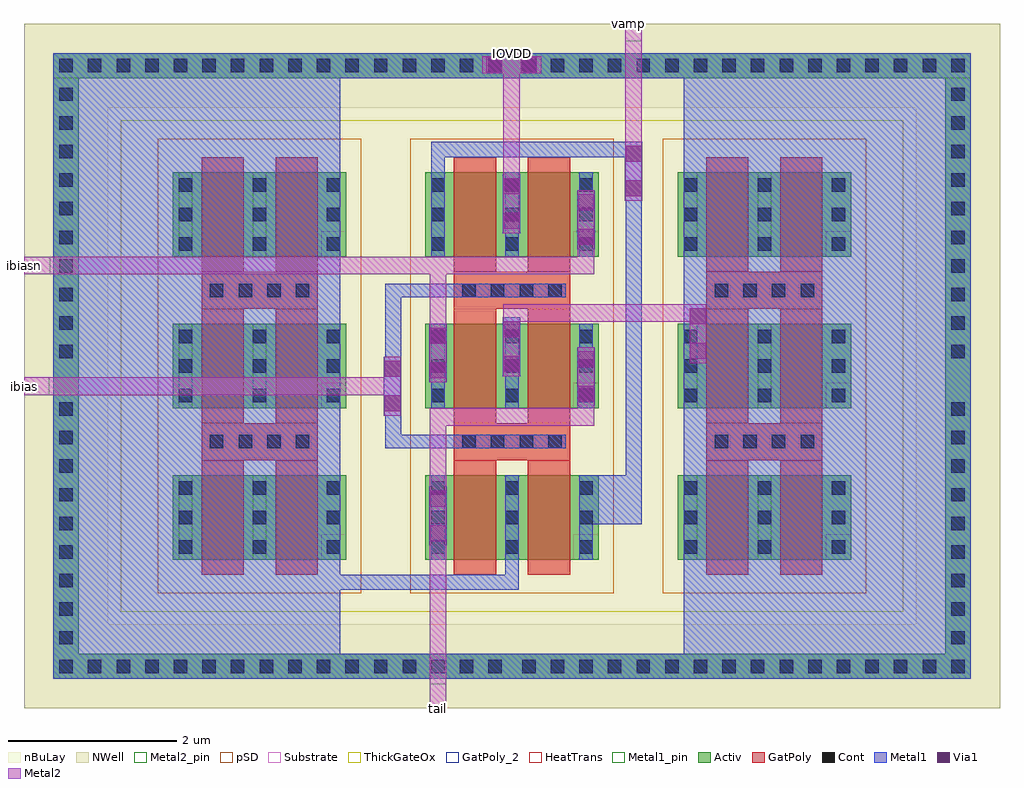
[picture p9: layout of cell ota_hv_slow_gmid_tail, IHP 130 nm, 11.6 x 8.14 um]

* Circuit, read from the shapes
.subckt ota_hv_slow_gmid_tail IOVDD ibias ibiasn tail vamp
XM1 IOVDD IOVDD IOVDD IOVDD sg13_hv_pmos w=1u l=0.5u m=12
XM2 IOVDD ibias tail IOVDD sg13_hv_pmos w=1u l=0.5u m=2
XM3 IOVDD ibias ibiasn IOVDD sg13_hv_pmos w=1u l=0.5u m=2
XM4 IOVDD ibias vamp IOVDD sg13_hv_pmos w=1u l=0.5u m=2
.ends

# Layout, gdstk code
import gdstk
lib = gdstk.Library(unit=1e-6, precision=1e-09)
def R(c, l, rs):  # rectangles x0, y0, x1, y1
    for r in rs: c.add(gdstk.rectangle(r[:2], r[2:], *l))
def A(c, l, x, y, w, h, nx, ny, dx, dy):  # array of equal rectangles
    R(c, l, [(x+i*dx, y+j*dy, x+i*dx+w, y+j*dy+h) for i in range(nx) for j in range(ny)])
def P(c, l, *ps):  # polygons
    for p in ps: c.add(gdstk.Polygon(p, *l))
Activ = (1, 0)
GatPoly = (5, 0)
GatPoly_2 = (5, 2)
Cont = (6, 0)
Metal1 = (8, 0)
Metal1_pin = (8, 2)
Metal2 = (10, 0)
Metal2_pin = (10, 2)
pSD = (14, 0)
Via1 = (19, 0)
NWell = (31, 0)
nBuLay = (32, 0)
Substrate = (40, 0)
ThickGateOx = (44, 0)
HeatTrans = (51, 0)

pmoshv_3 = lib.new_cell('pmosHV$3')
A(pmoshv_3, Activ, 0, 0, 0.3, 0.3, 3, 1, 0.88, 0)
R(pmoshv_3, Activ, [(0,0,2.06,1)])
R(pmoshv_3, GatPoly, [(0.34,-0.18,0.84,1.18), (1.22,-0.18,1.72,1.18)])
R(pmoshv_3, GatPoly_2, [(0.34,-0.18,0.84,1.18)])
A(pmoshv_3, Cont, 0.07, 0.07, 0.16, 0.16, 3, 3, 0.88, 0.35)
A(pmoshv_3, Metal1, 0.07, 0, 0.16, 1, 3, 1, 0.88, 0)
R(pmoshv_3, Metal1_pin, [(0.07,0,0.23,1), (0.95,0,1.11,1)])
R(pmoshv_3, pSD, [(-0.18,-0.4,2.24,1.4)])
R(pmoshv_3, NWell, [(-0.62,-0.62,2.68,1.62)])
R(pmoshv_3, Substrate, [(1.76,0,2.06,0.3)])
R(pmoshv_3, ThickGateOx, [(-0.62,-0.62,2.68,1.62)])
R(pmoshv_3, HeatTrans, [(0.34,-0.18,0.84,1.18), (1.22,-0.18,1.72,1.18)])
pmoshv_3.add(gdstk.Label('pmosHV', (0.59,0.5), layer=63, texttype=0))
pmoshv_3.add(gdstk.Label('pmos', (0.59,0.5), layer=51, texttype=0))
pmoshv_3.add(gdstk.Label('pmos', (1.47,0.5), layer=51, texttype=0))

pmoshv_2 = lib.new_cell('pmosHV$2')
A(pmoshv_2, Activ, 0, 0, 0.3, 0.3, 3, 1, 0.88, 0)
R(pmoshv_2, Activ, [(0,0,2.06,1)])
R(pmoshv_2, GatPoly, [(0.34,-0.18,0.84,1.18), (1.22,-0.18,1.72,1.18)])
R(pmoshv_2, GatPoly_2, [(0.34,-0.18,0.84,1.18)])
A(pmoshv_2, Cont, 0.07, 0.07, 0.16, 0.16, 3, 3, 0.88, 0.35)
A(pmoshv_2, Metal1, 0.07, 0, 0.16, 1, 3, 1, 0.88, 0)
R(pmoshv_2, Metal1_pin, [(0.07,0,0.23,1), (0.95,0,1.11,1)])
R(pmoshv_2, pSD, [(-0.18,-0.4,2.24,1.4)])
R(pmoshv_2, NWell, [(-0.62,-0.62,2.68,1.62)])
R(pmoshv_2, Substrate, [(1.76,0,2.06,0.3)])
R(pmoshv_2, ThickGateOx, [(-0.62,-0.62,2.68,1.62)])
R(pmoshv_2, HeatTrans, [(0.34,-0.18,0.84,1.18), (1.22,-0.18,1.72,1.18)])
pmoshv_2.add(gdstk.Label('pmosHV', (0.59,0.5), layer=63, texttype=0))
pmoshv_2.add(gdstk.Label('pmos', (0.59,0.5), layer=51, texttype=0))
pmoshv_2.add(gdstk.Label('pmos', (1.47,0.5), layer=51, texttype=0))

guard_ring_3 = lib.new_cell('guard_ring$3')
R(guard_ring_3, Activ, [(-5.45,-3.42,-5.15,3.42), (5.15,-3.42,5.45,3.42), (-5.45,3.42,5.45,3.72)])
P(guard_ring_3, Activ, [(-5.45,-3.72),(-5.45,3.42),(-5.15,3.42),(-5.15,-3.42),(5.15,-3.42),(5.15,3.42),(-5.45,3.42),(-5.45,3.72),(5.45,3.72),(5.45,-3.72)])
A(guard_ring_3, Cont, -5.38, -3.65, 0.16, 0.16, 16, 2, 0.34, 7.14)
A(guard_ring_3, Cont, 0.12, -3.65, 0.16, 0.16, 16, 2, 0.34, 7.14)
A(guard_ring_3, Cont, -5.38, -3.31, 0.16, 0.16, 1, 9, 0, 0.34)
A(guard_ring_3, Cont, 5.22, -3.31, 0.16, 0.16, 1, 9, 0, 0.34)
A(guard_ring_3, Cont, -5.38, 0.09, 0.16, 0.16, 1, 10, 0, 0.34)
A(guard_ring_3, Cont, 5.22, 0.09, 0.16, 0.16, 1, 10, 0, 0.34)
R(guard_ring_3, Metal1, [(-5.45,-3.72,5.45,-3.42), (-5.45,-3.42,-5.15,3.42), (5.15,-3.42,5.45,3.42), (-5.45,3.42,5.45,3.72)])
R(guard_ring_3, NWell, [(-5.8,-4.07,5.8,4.07)])
R(guard_ring_3, nBuLay, [(-5.8,-3.07,-4.8,3.07), (4.8,-3.07,5.8,3.07), (-5.8,3.07,5.8,4.07)])
P(guard_ring_3, nBuLay, [(-5.8,-4.07),(-5.8,3.07),(-4.8,3.07),(-4.8,-3.07),(4.8,-3.07),(4.8,3.07),(-5.8,3.07),(-5.8,4.07),(5.8,4.07),(5.8,-4.07)])
guard_ring_3.add(gdstk.Label('well', (0,-3.57), layer=63, texttype=0))

via_stack_2 = lib.new_cell('via_stack$2')
R(via_stack_2, GatPoly, [(-0.66,-0.15,0.66,0.15)])
A(via_stack_2, Cont, -0.59, -0.08, 0.16, 0.16, 4, 1, 0.34, 0)
R(via_stack_2, Metal1, [(-0.64,-0.08,0.64,0.08)])

via_stack_4 = lib.new_cell('via_stack$4')
R(via_stack_4, Metal1, [(-0.105,-0.35,0.105,0.35)])
R(via_stack_4, Metal2, [(-0.1,-0.35,0.1,0.35)])
R(via_stack_4, Via1, [(-0.095,-0.3,0.095,-0.11), (-0.095,0.11,0.095,0.3)])

via_stack_3 = lib.new_cell('via_stack$3')
R(via_stack_3, Metal1, [(-0.35,-0.105,0.35,0.105)])
R(via_stack_3, Metal2, [(-0.35,-0.1,0.35,0.1)])
R(via_stack_3, Via1, [(-0.3,-0.095,-0.11,0.095), (0.11,-0.095,0.3,0.095)])

ota_hv_slow_gmid_tail = lib.new_cell('ota_hv_slow_gmid_tail')
A(ota_hv_slow_gmid_tail, GatPoly, -3.69, -1.12, 1.38, 0.44, 3, 2, 3, 1.8)
R(ota_hv_slow_gmid_tail, Metal1, [(-5.45,-3.72,-2.04,3.72), (2.04,-3.72,5.45,3.72), (-2.395,-2.66,0.08,-2.48), (-0.08,-2.66,0.08,-1.98), (0.8,-1.88,1.54,-1.3), (1.35,-1.88,1.54,2.665), (-1.505,-0.98,-1.315,0.98), (-1.505,-0.98,-0.32,-0.82), (-1.505,0.82,-0.275,0.98), (-0.96,2.28,-0.8,2.665), (-0.96,2.48,1.54,2.665)])
R(ota_hv_slow_gmid_tail, Metal1_pin, [(-5.45,3.42,5.45,3.72)])
R(ota_hv_slow_gmid_tail, Metal2, [(-0.98,-4.07,-0.78,-2.005), (-0.98,-1.64,-0.78,-0.5), (-0.98,-0.71,0.98,-0.5), (0.78,-0.71,0.98,-0.365), (-5.8,-0.345,-1.32,-0.135), (-0.98,0.16,-0.78,1.3), (-0.105,0.23,0.095,0.735), (-0.105,0.525,2.31,0.735), (-5.8,1.09,-0.78,1.3), (-0.98,1.09,0.98,1.3), (0.78,1.09,0.98,1.435), (-0.105,1.965,0.095,3.72), (1.345,2.56,1.545,4.07)])
P(ota_hv_slow_gmid_tail, Metal2, [(-0.11,1.975),(-0.11,1.975),(-0.11,1.975),(-0.11,1.975)])
R(ota_hv_slow_gmid_tail, Metal2_pin, [(-0.98,-4.07,-0.78,-3.775), (-5.8,-0.345,-5.5,-0.135), (-5.8,1.09,-5.49,1.3), (1.345,3.86,1.545,4.07)])
r = gdstk.Reference(pmoshv_3, (-1.03,-2.3)); r.repetition = gdstk.Repetition(1, 3, v1=(0,0), v2=(0,1.8)); ota_hv_slow_gmid_tail.add(r)
r = gdstk.Reference(pmoshv_2, (-4.03,-2.3)); r.repetition = gdstk.Repetition(2, 3, v1=(6,0), v2=(0,1.8)); ota_hv_slow_gmid_tail.add(r)
ota_hv_slow_gmid_tail.add(gdstk.Reference(guard_ring_3, (0,0)))
ota_hv_slow_gmid_tail.add(gdstk.Reference(via_stack_2, (-3,-0.9)))
ota_hv_slow_gmid_tail.add(gdstk.Reference(via_stack_2, (3,0.9)))
ota_hv_slow_gmid_tail.add(gdstk.Reference(via_stack_2, (3,-0.9)))
ota_hv_slow_gmid_tail.add(gdstk.Reference(via_stack_2, (-3,0.9)))
ota_hv_slow_gmid_tail.add(gdstk.Reference(via_stack_2, (0,-0.9)))
ota_hv_slow_gmid_tail.add(gdstk.Reference(via_stack_2, (0,0.9)))
ota_hv_slow_gmid_tail.add(gdstk.Reference(via_stack_4, (-0.88,0.155)))
ota_hv_slow_gmid_tail.add(gdstk.Reference(via_stack_4, (0.88,1.74)))
ota_hv_slow_gmid_tail.add(gdstk.Reference(via_stack_4, (-0.88,-1.78)))
ota_hv_slow_gmid_tail.add(gdstk.Reference(via_stack_4, (0.88,-0.125)))
ota_hv_slow_gmid_tail.add(gdstk.Reference(via_stack_4, (-0.005,0.23)))
ota_hv_slow_gmid_tail.add(gdstk.Reference(via_stack_4, (2.21,0.385)))
ota_hv_slow_gmid_tail.add(gdstk.Reference(via_stack_4, (-1.42,-0.24)))
ota_hv_slow_gmid_tail.add(gdstk.Reference(via_stack_4, (-0.005,1.93)))
ota_hv_slow_gmid_tail.add(gdstk.Reference(via_stack_3, (-0.005,3.58)))
ota_hv_slow_gmid_tail.add(gdstk.Reference(via_stack_4, (1.445,2.315)))
ota_hv_slow_gmid_tail.add(gdstk.Label('IOVDD', (0,3.72), layer=8, texttype=2))
ota_hv_slow_gmid_tail.add(gdstk.Label('ibias', (-5.8,-0.24), layer=10, texttype=2))
ota_hv_slow_gmid_tail.add(gdstk.Label('ibiasn', (-5.8,1.195), layer=10, texttype=2))
ota_hv_slow_gmid_tail.add(gdstk.Label('vamp', (1.385,4.07), layer=10, texttype=2))
ota_hv_slow_gmid_tail.add(gdstk.Label('tail', (-0.88,-4.07), layer=10, texttype=2))

lib.write_gds('ota_hv_slow_gmid_tail.gds')
